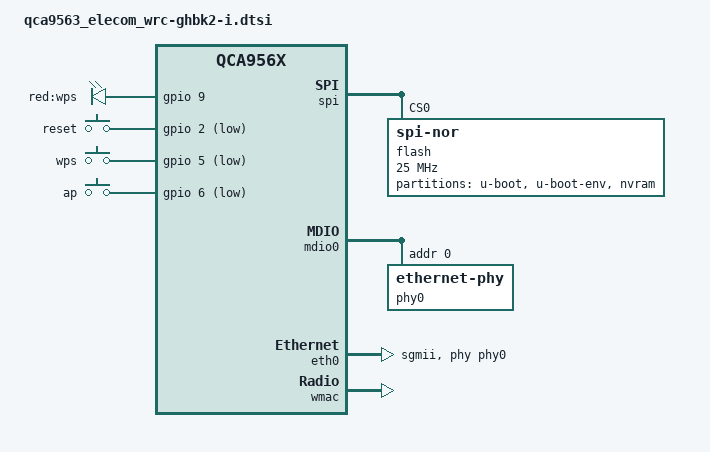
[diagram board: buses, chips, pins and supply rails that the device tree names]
// SPDX-License-Identifier: GPL-2.0-or-later OR MIT

#include "qca956x.dtsi"

#include <dt-bindings/gpio/gpio.h>
#include <dt-bindings/input/input.h>

/ {
	aliases {
		led-boot = &led_power;
		led-failsafe = &led_power;
		led-running = &led_power;
		led-upgrade = &led_power;
	};

	leds: leds {
		compatible = "gpio-leds";

		wps {
			label = "red:wps";
			gpios = <&gpio 9 GPIO_ACTIVE_HIGH>;
		};
	};

	keys {
		compatible = "gpio-keys";

		reset {
			label = "reset";
			gpios = <&gpio 2 GPIO_ACTIVE_LOW>;
			linux,code = <KEY_RESTART>;
			debounce-interval = <60>;
		};

		wps {
			label = "wps";
			gpios = <&gpio 5 GPIO_ACTIVE_LOW>;
			linux,code = <KEY_WPS_BUTTON>;
			debounce-interval = <60>;
		};

		ap {
			label = "ap";
			gpios = <&gpio 6 GPIO_ACTIVE_LOW>;
			linux,code = <BTN_0>;
			linux,input-type = <EV_SW>;
			debounce-interval = <60>;
		};
	};
};

&spi {
	status = "okay";

	flash@0 {
		compatible = "jedec,spi-nor";
		reg = <0>;
		spi-max-frequency = <25000000>;

		partitions: partitions {
			compatible = "fixed-partitions";
			#address-cells = <1>;
			#size-cells = <1>;

			partition@0 {
				label = "u-boot";
				reg = <0x000000 0x040000>;
				read-only;
			};

			partition@40000 {
				label = "u-boot-env";
				reg = <0x040000 0x010000>;
				read-only;
			};

			partition@50000 {
				label = "nvram";
				reg = <0x050000 0x020000>;
				read-only;
			};
		};
	};
};

&mdio0 {
	status = "okay";

	phy0: ethernet-phy@0 {
		reg = <0>;

		qca,ar8327-initvals = <
			0x04 0x00000080 /* PORT0 PAD MODE CTRL */
			0x50 0xcf37cf37 /* LED_CTRL0 */
			0x54 0x00000000 /* LED_CTRL1 */
			0x58 0x00000000 /* LED_CTRL2 */
			0x5c 0x03ffff00 /* LED_CTRL3 */
			0x7c 0x0000007e /* PORT0_STATUS */
		>;
	};
};

&eth0 {
	status = "okay";

	pll-data = <0x03000101 0x00000101 0x00001919>;

	phy-mode = "sgmii";
	phy-handle = <&phy0>;
};

&wmac {
	status = "okay";
};
